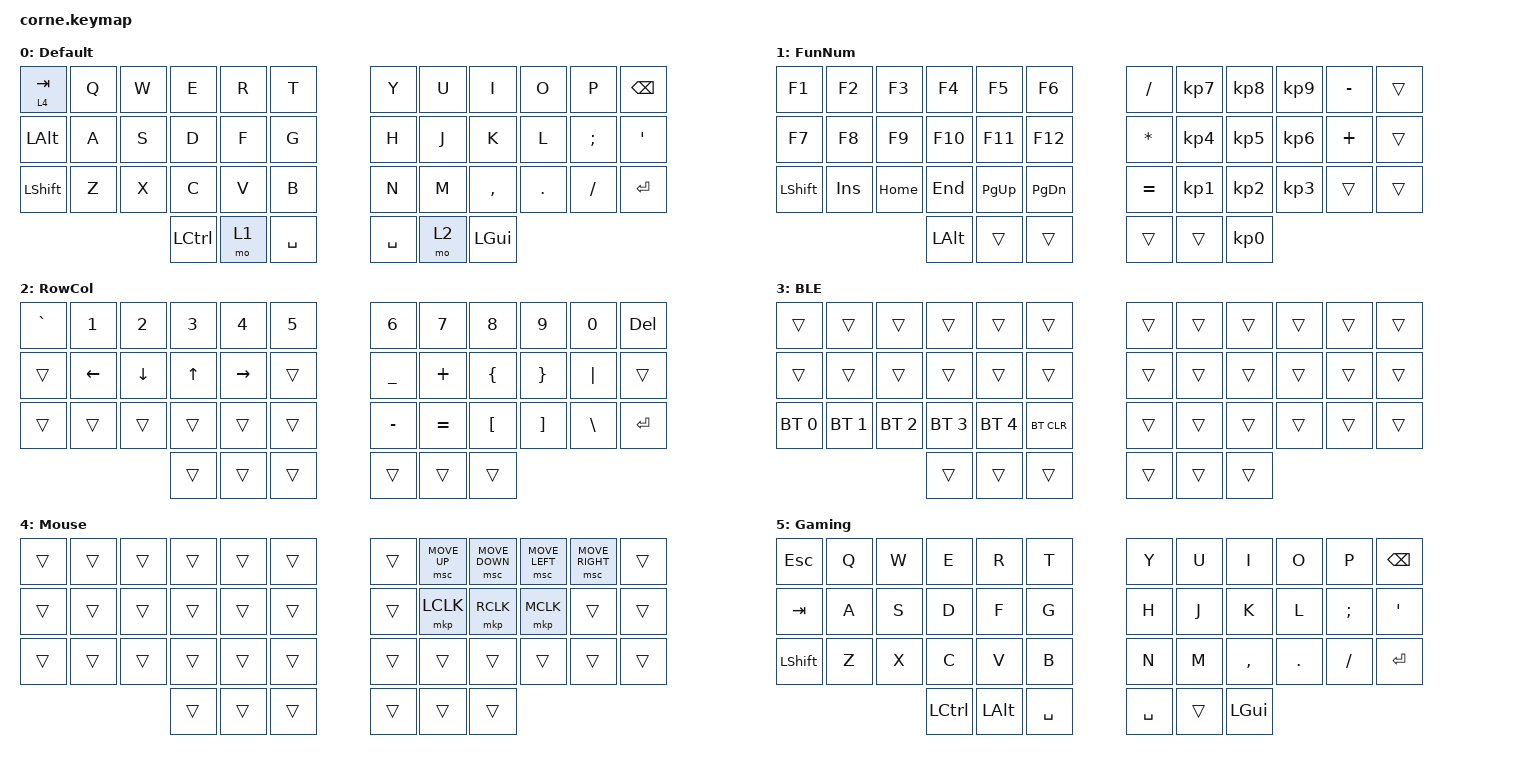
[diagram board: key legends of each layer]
/*
 * Copyright (c) 2020 The ZMK Contributors
 *
 * SPDX-License-Identifier: MIT
 */

#include <behaviors.dtsi>
#include <dt-bindings/zmk/bt.h>
#include <dt-bindings/zmk/keys.h>
#include <dt-bindings/zmk/mouse.h>

/ {
    combos {
        compatible = "zmk,combos";

        gaming {
            bindings = <&tog 5>;
            key-positions = <37 40>;
        };

        blutooth {
            bindings = <&tog 3>;
            key-positions = <38 39>;
        };

        //left_click {
        //    bindings = <&mkp LCLK>;
        //    key-positions = <19 20>;
        //};

        //right_click {
        //    bindings = <&mkp RCLK>;
        //    key-positions = <20 21>;
        //};

        //middle_click {
        //    bindings = <&mkp MCLK>;
        //    key-positions = <19 20 21>;
        //};

        //scroll_up {
        //    bindings = <&msc MOVE_UP>;
        //    key-positions = <7 8>;
        //};

        //scroll_down {
        //    bindings = <&msc MOVE_DOWN>;
        //    key-positions = <8 9>;
        //};

        //scroll_left {
        //    bindings = <&msc MOVE_LEFT>;
        //    key-positions = <31 32>;
        //};

        //scroll_right {
        //    bindings = <&msc MOVE_RIGHT>;
        //    key-positions = <32 33>;
        //};
    };

    keymap {
        compatible = "zmk,keymap";

        default_layer {
            // -----------------------------------------------------------------------------------------
            // |  TAB |  Q  |  W  |  E  |  R  |  T  |   |  Y  |  U   |  I  |  O  |  P  | BKSP |
            // | CTRL |  A  |  S  |  D  |  F  |  G  |   |  H  |  J   |  K  |  L  |  ;  |  '   |
            // | SHFT |  Z  |  X  |  C  |  V  |  B  |   |  N  |  M   |  ,  |  .  |  /  | ESC  |
            //                    | GUI | LWR | SPC |   | ENT | RSE  | ALT |

            bindings = <
&lt 4 TAB     &kp Q  &kp W  &kp E             &kp R  &kp T        &kp Y      &kp U  &kp I         &kp O    &kp P     &kp BSPC
&kp LEFT_ALT  &kp A  &kp S  &kp D             &kp F  &kp G        &kp H      &kp J  &kp K         &kp L    &kp SEMI  &kp SQT
&kp LSHFT     &kp Z  &kp X  &kp C             &kp V  &kp B        &kp N      &kp M  &kp COMMA     &kp DOT  &kp FSLH  &kp ENTER
                            &kp LEFT_CONTROL  &mo 1  &kp SPACE    &kp SPACE  &mo 2  &kp LEFT_GUI
            >;

            label = "Default";
        };

        fun_num_layer {
            // -----------------------------------------------------------------------------------------
            // |  TAB |  1  |  2  |  3  |  4  |  5  |   |  6  |  7  |  8  |  9  |  0  | BKSP |
            // | BTCLR| BT1 | BT2 | BT3 | BT4 | BT5 |   | LFT | DWN |  UP | RGT |     |      |
            // | SHFT |     |     |     |     |     |   |     |     |     |     |     |      |
            //                    | GUI |     | SPC |   | ENT |     | ALT |

            bindings = <
&kp F1          &kp F2      &kp F3    &kp F4        &kp F5       &kp F6           &kp SLASH     &kp KP_NUMBER_7  &kp KP_NUMBER_8  &kp KP_NUMBER_9  &kp MINUS  &trans
&kp F7          &kp F8      &kp F9    &kp F10       &kp F11      &kp F12          &kp ASTERISK  &kp KP_NUMBER_4  &kp KP_NUMBER_5  &kp KP_NUMBER_6  &kp PLUS   &trans
&kp LEFT_SHIFT  &kp INSERT  &kp HOME  &kp END       &kp PAGE_UP  &kp PAGE_DOWN    &kp EQUAL     &kp KP_NUMBER_1  &kp KP_NUMBER_2  &kp KP_NUMBER_3  &trans     &trans
                                      &kp LEFT_ALT  &trans       &trans           &trans        &trans           &kp KP_NUMBER_0
            >;

            label = "FunNum";
        };

        row_col_layer {
            // -----------------------------------------------------------------------------------------
            // |  TAB |  !  |  @  |  #  |  $  |  %  |   |  ^  |  &  |  *  |  (  |  )  | BKSP |
            // | CTRL |     |     |     |     |     |   |  -  |  =  |  [  |  ]  |  \  |  `   |
            // | SHFT |     |     |     |     |     |   |  _  |  +  |  {  |  }  | "|" |  ~   |
            //                    | GUI |     | SPC |   | ENT |     | ALT |

            bindings = <
&kp GRAVE  &kp NUMBER_1  &kp NUMBER_2  &kp NUMBER_3  &kp NUMBER_4  &kp NUMBER_5    &kp NUMBER_6    &kp NUMBER_7  &kp NUMBER_8      &kp NUMBER_9       &kp NUMBER_0   &kp DELETE
&trans     &kp LEFT      &kp DOWN      &kp UP        &kp RIGHT     &trans          &kp UNDERSCORE  &kp PLUS      &kp LEFT_BRACE    &kp RIGHT_BRACE    &kp PIPE       &trans
&trans     &trans        &trans        &trans        &trans        &trans          &kp MINUS       &kp EQUAL     &kp LEFT_BRACKET  &kp RIGHT_BRACKET  &kp BACKSLASH  &kp ENTER
                                       &trans        &trans        &trans          &trans          &trans        &trans
            >;

            label = "RowCol";
        };

        bluetooth_layer {
            bindings = <
&trans        &trans        &trans        &trans        &trans        &trans        &trans  &trans  &trans  &trans  &trans  &trans
&trans        &trans        &trans        &trans        &trans        &trans        &trans  &trans  &trans  &trans  &trans  &trans
&bt BT_SEL 0  &bt BT_SEL 1  &bt BT_SEL 2  &bt BT_SEL 3  &bt BT_SEL 4  &bt BT_CLR    &trans  &trans  &trans  &trans  &trans  &trans
                                          &trans        &trans        &trans        &trans  &trans  &trans
            >;

            label = "BLE";
        };

        mouse_layer {
            bindings = <
&trans  &trans  &trans  &trans  &trans  &trans    &trans  &msc MOVE_UP  &msc MOVE_DOWN  &msc MOVE_LEFT  &msc MOVE_RIGHT  &trans
&trans  &trans  &trans  &trans  &trans  &trans    &trans  &mkp LCLK     &mkp RCLK       &mkp MCLK       &trans           &trans
&trans  &trans  &trans  &trans  &trans  &trans    &trans  &trans        &trans          &trans          &trans           &trans
                        &trans  &trans  &trans    &trans  &trans        &trans
            >;

            label = "Mouse";
        };

        gaming_layer {
            bindings = <
&kp ESC    &kp Q  &kp W  &kp E      &kp R     &kp T        &kp Y      &kp U   &kp I      &kp O    &kp P     &kp BSPC
&kp TAB    &kp A  &kp S  &kp D      &kp F     &kp G        &kp H      &kp J   &kp K      &kp L    &kp SEMI  &kp APOS
&kp LSHFT  &kp Z  &kp X  &kp C      &kp V     &kp B        &kp N      &kp M   &kp COMMA  &kp DOT  &kp FSLH  &kp ENTER
                         &kp LCTRL  &kp LALT  &kp SPACE    &kp SPACE  &trans  &kp LGUI
            >;

            label = "Gaming";
        };
    };
};
